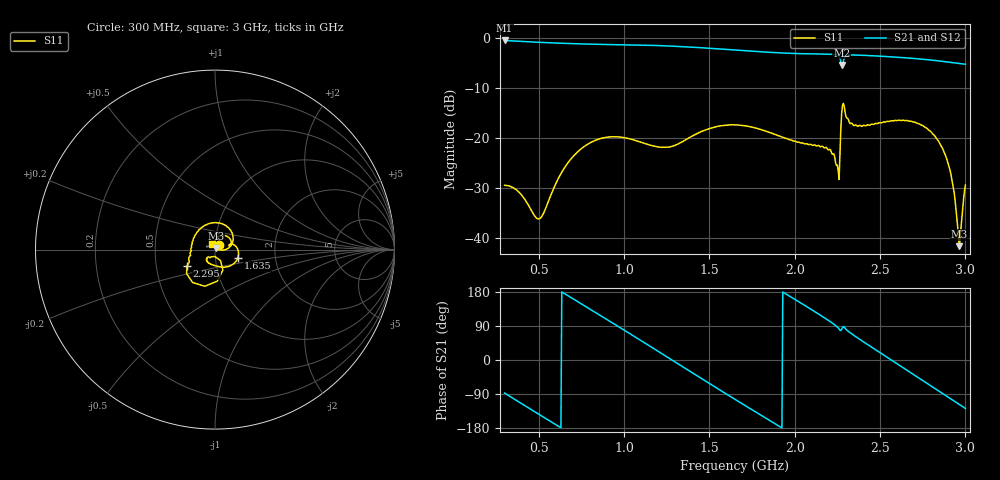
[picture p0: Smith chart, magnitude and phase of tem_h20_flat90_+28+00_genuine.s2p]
! tem_h20_flat90_+28+00_genuine
! simulated by sim/fixtures_fdtd.py (S12 = S21, S22 not computed)
# HZ S RI R 50
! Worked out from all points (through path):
!   541 points, 300 MHz to 3 GHz, reference 50 ohm
!   highest |S21| = -0.48 dB at 300 MHz (marker M1); lowest = -5.4 dB at 2.275 GHz (marker M2)
!   group delay of S21, straight-line fit = 778 ps
!   lowest |S11| = -41.7 dB at 2.965 GHz (marker M3), VSWR 1.02, Z = 50.4 + j0.711 ohm
!   |S11| at or under -10 dB: start of sweep to end of sweep
!   |S22| runs from - to - dB; largest |S21 - S12| = 0
!   S11 on the Smith chart (normalised r, x): 300 MHz: 1.05, +0.05; 1.635 GHz: 1.29, -0.12; 2.295 GHz: 0.72, -0.14; 3 GHz: 0.97, +0.06
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3e8  0.0239 0.0235  0.0453 -0.9456  0.0453 -0.9456  0 0
5.05e8  0.00744 0.0137  -0.7374 -0.5271  -0.7374 -0.5271  0 0
6.25e8  -0.00205 0.0422  -0.8876 -0.0384  -0.8876 -0.0384  0 0
7.5e8  0.0235 0.0746  -0.7421 0.4617  -0.7421 0.4617  0 0
9.75e8  0.0881 0.0517  0.06 0.8557  0.06 0.8557  0 0
1.2e9  0.0786 0.0207  0.7765 0.3249  0.7765 0.3249  0 0
1.38e9  0.0952 0.0306  0.7176 -0.3853  0.7176 -0.3853  0 0
1.51e9  0.1255 0.00453  0.3347 -0.714  0.3347 -0.714  0 0
1.635e9  0.1275 -0.0453  -0.1281 -0.7507  -0.1281 -0.7507  0 0
1.65e9  0.1249 -0.0513  -0.1814 -0.7362  -0.1814 -0.7362  0 0
1.88e9  0.0484 -0.0976  -0.6971 -0.1614  -0.6971 -0.1614  0 0
2.1e9  -0.018 -0.0831  -0.4693 0.513  -0.4693 0.513  0 0
2.25e9  -0.0282 -0.0454  0.0364 0.6697  0.0364 0.6697  0 0
2.275e9  0.0125 -0.1757  0.0879 0.5321  0.0879 0.5321  0 0
2.295e9  -0.157 -0.093  0.0699 0.6552  0.0699 0.6552  0 0
2.42e9  -0.1218 0.0538  0.4904 0.4545  0.4904 0.4545  0 0
2.55e9  -0.0496 0.1377  0.6492 0.0527  0.6492 0.0527  0 0
2.68e9  0.0575 0.1356  0.5242 -0.3463  0.5242 -0.3463  0 0
2.845e9  0.0886 0.0219  0.0783 -0.5857  0.0783 -0.5857  0 0
2.915e9  0.0433 -0.00351  -0.1285 -0.5562  -0.1285 -0.5562  0 0
2.965e9  0.00426 0.00705  -0.2579 -0.4931  -0.2579 -0.4931  0 0
3e9  -0.0157 0.0297  -0.3342 -0.4331  -0.3342 -0.4331  0 0
